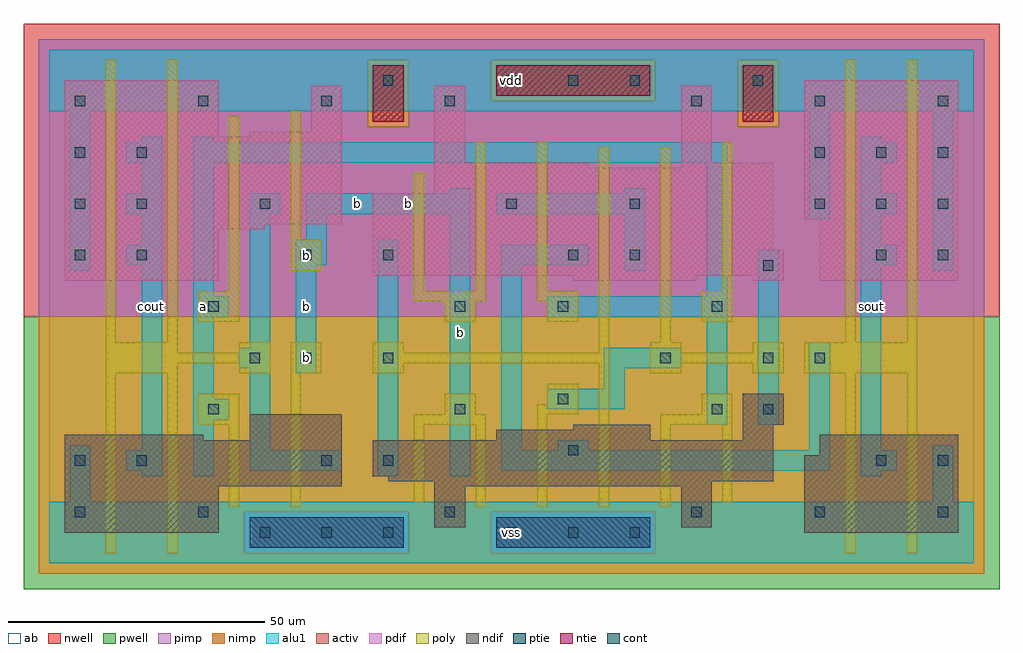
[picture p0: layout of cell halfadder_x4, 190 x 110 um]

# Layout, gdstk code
import gdstk
lib = gdstk.Library(unit=1e-6, precision=1e-09)
def R(c, l, rs):  # rectangles x0, y0, x1, y1
    for r in rs: c.add(gdstk.rectangle(r[:2], r[2:], *l))
def A(c, l, x, y, w, h, nx, ny, dx, dy):  # array of equal rectangles
    R(c, l, [(x+i*dx, y+j*dy, x+i*dx+w, y+j*dy+h) for i in range(nx) for j in range(ny)])
ndif = (3, 0)
pdif = (4, 0)
ntie = (5, 0)
ptie = (6, 0)
cont = (25, 0)
pwell = (41, 0)
nwell = (42, 0)
activ = (43, 0)
pimp = (44, 0)
nimp = (45, 0)
poly = (46, 0)
alu1 = (49, 0)
ab = (63, 0)

halfadder_x4 = lib.new_cell('halfadder_x4')
R(halfadder_x4, ndif, [(3,6,33,15), (147,6,177,21), (75,7,81,15), (123,7,129,15), (3,15,57,24), (75,15,129,16), (66,16,141,17), (63,17,141,24), (150,21,177,25), (3,24,30,25), (39,24,57,29), (87,24,117,26), (135,24,141,27), (102,26,117,27), (135,27,143,33)])
R(halfadder_x4, pdif, [(3,55,33,65), (102,55,126,56), (137,55,143,56), (150,55,177,67), (63,56,143,61), (63,61,141,72), (3,65,42,66), (3,66,57,83), (147,67,177,94), (75,72,141,77), (75,77,105,78), (123,77,141,78), (75,78,81,93), (123,78,129,93), (3,83,33,94), (39,83,57,84), (51,84,57,93)])
R(halfadder_x4, ntie, [(63,86,69,97), (135,86,141,97), (87,91,117,97)])
R(halfadder_x4, ptie, [(39,3,69,9), (87,3,117,9)])
A(halfadder_x4, cont, 41, 5, 2, 2, 3, 1, 12, 0)
A(halfadder_x4, cont, 89, 5, 2, 2, 3, 2, 12, 88)
A(halfadder_x4, cont, 29, 9, 2, 2, 3, 1, 48, 0)
A(halfadder_x4, cont, 65, 19, 2, 2, 1, 3, 0, 20)
A(halfadder_x4, cont, 5, 59, 2, 2, 1, 3, 0, 10)
A(halfadder_x4, cont, 17, 59, 2, 2, 1, 3, 0, 10)
A(halfadder_x4, cont, 149, 69, 2, 2, 3, 2, 12, 10)
A(halfadder_x4, cont, 5, 89, 2, 2, 4, 1, 24, 0)
A(halfadder_x4, cont, 125, 89, 2, 2, 3, 1, 24, 0)
R(halfadder_x4, cont, [(5,9,7,11), (149,9,151,11), (173,9,175,11), (5,19,7,21), (17,19,19,21), (53,19,55,21), (161,19,163,21), (173,19,175,21), (101,21,103,23), (31,29,33,31), (79,29,81,31), (129,29,131,31), (139,29,141,31), (99,31,101,33), (39,39,41,41), (49,39,51,41), (119,39,121,41), (139,39,141,41), (149,39,151,41), (31,49,33,51), (79,49,81,51), (99,49,101,51), (129,49,131,51), (139,57,141,59), (49,59,51,61), (101,59,103,61), (113,59,115,61), (161,59,163,61), (173,59,175,61), (41,69,43,71), (89,69,91,71), (113,69,115,71), (65,93,67,95), (137,93,139,95)])
R(halfadder_x4, pwell, [(-5,-5,185,48)])
R(halfadder_x4, nwell, [(-5,48,185,105)])
R(halfadder_x4, activ, [(39,3,69,9), (87,3,117,9), (3,6,33,15), (147,6,177,21), (75,7,81,15), (123,7,129,15), (3,15,57,24), (75,15,129,16), (66,16,141,17), (63,17,141,24), (150,21,177,25), (3,24,30,25), (39,24,57,29), (87,24,117,26), (135,24,141,27), (102,26,117,27), (135,27,143,33), (3,55,33,65), (102,55,126,56), (137,55,143,56), (150,55,177,67), (63,56,143,61), (63,61,141,72), (3,65,42,66), (3,66,57,83), (147,67,177,94), (75,72,141,77), (75,77,105,78), (123,77,141,78), (75,78,81,93), (123,78,129,93), (3,83,33,94), (39,83,57,84), (51,84,57,93), (63,86,69,97), (135,86,141,97), (87,91,117,97)])
R(halfadder_x4, pimp, [(38,2,70,10), (86,2,118,10), (-2,48,182,85), (-2,85,62,98), (70,85,134,90), (142,85,182,98), (70,90,86,98), (118,90,134,98), (-2,98,182,102)])
R(halfadder_x4, nimp, [(-2,-2,182,2), (-2,2,38,10), (70,2,86,10), (118,2,182,10), (-2,10,182,48), (62,85,70,98), (134,85,142,98), (86,90,118,98)])
R(halfadder_x4, poly, [(11,2,13,37), (23,2,25,37), (155,2,157,37), (167,2,169,37), (35,11,37,27), (47,11,49,37), (83,11,85,27), (95,11,97,29), (107,11,109,39), (119,11,121,27), (71,12,73,27), (131,12,133,27), (29,27,37,33), (71,27,85,29), (119,27,133,29), (77,29,83,33), (95,29,103,31), (127,29,133,33), (97,31,103,35), (11,37,25,39), (37,37,43,39), (47,37,53,43), (63,37,69,39), (117,37,123,39), (137,37,143,39), (147,37,169,43), (11,39,43,41), (63,39,109,41), (117,39,143,41), (11,41,25,43), (37,41,43,43), (63,41,69,43), (107,41,109,81), (117,41,123,43), (137,41,143,43), (11,43,13,98), (23,43,25,98), (119,43,121,81), (155,43,157,98), (167,43,169,98), (29,47,37,53), (77,47,83,51), (97,47,103,51), (127,47,133,53), (71,51,85,53), (95,51,103,53), (35,53,37,87), (71,53,73,76), (83,53,85,82), (95,53,97,82), (131,53,133,82), (47,57,53,63), (47,63,49,88)])
A(halfadder_x4, alu1, 18, 22, 4, 36, 3, 1, 70, 0)
A(halfadder_x4, alu1, 15, 58, 7, 4, 1, 3, 0, 10)
A(halfadder_x4, alu1, 158, 58, 7, 4, 1, 3, 0, 10)
R(halfadder_x4, alu1, [(0,0,180,12), (4,12,8,23), (172,12,176,23), (18,17,22,18), (28,17,32,28), (64,17,68,63), (78,17,82,68), (158,17,162,18), (15,18,22,22), (39,18,57,22), (88,18,152,22), (158,18,165,22), (39,22,43,38), (99,22,105,24), (148,22,152,43), (128,27,132,48), (138,27,142,61), (28,28,35,32), (97,30,112,34), (28,32,32,48), (108,34,112,38), (48,37,52,58), (37,38,43,42), (108,38,123,42), (39,42,43,68), (28,48,35,52), (97,48,132,52), (28,52,32,78), (128,52,132,78), (4,57,8,88), (112,57,116,68), (172,57,176,88), (48,58,54,63), (88,58,105,62), (18,62,22,68), (158,62,162,68), (50,63,54,68), (148,67,152,88), (39,68,45,72), (50,68,82,72), (87,68,116,72), (18,72,22,78), (78,72,82,73), (112,72,116,73), (158,72,162,78), (28,78,132,82), (18,82,22,83), (28,82,32,83), (158,82,162,83), (0,88,180,100)])
R(halfadder_x4, ab, [(0,0,180,100)])
halfadder_x4.add(gdstk.Label('a', (30,50), layer=49, texttype=0))
halfadder_x4.add(gdstk.Label('cout', (20,50), layer=49, texttype=0))
halfadder_x4.add(gdstk.Label('b', (50,40), layer=49, texttype=0))
halfadder_x4.add(gdstk.Label('b', (50,50), layer=49, texttype=0))
halfadder_x4.add(gdstk.Label('b', (50,60), layer=49, texttype=0))
halfadder_x4.add(gdstk.Label('b', (60,70), layer=49, texttype=0))
halfadder_x4.add(gdstk.Label('vss', (90,6), layer=49, texttype=0))
halfadder_x4.add(gdstk.Label('b', (80,45), layer=49, texttype=0))
halfadder_x4.add(gdstk.Label('b', (70,70), layer=49, texttype=0))
halfadder_x4.add(gdstk.Label('vdd', (90,94), layer=49, texttype=0))
halfadder_x4.add(gdstk.Label('sout', (160,50), layer=49, texttype=0))

lib.write_gds('halfadder_x4.gds')
